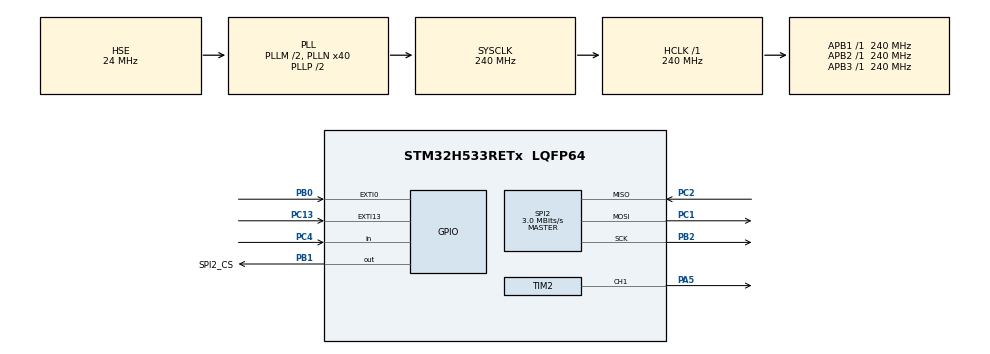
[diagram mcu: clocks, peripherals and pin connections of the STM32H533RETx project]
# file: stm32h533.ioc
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BOOTPATH.BootPathName=LEGACY
BOOTPATH.UserSelectedBootPath=LEGACY
CORTEX_M33_NS.userName=CORTEX_M33
Mcu.Family=STM32H5
Mcu.Name=STM32H533RETx
Mcu.Package=LQFP64
NUCLEO-H533RE.BUTTON=1
NUCLEO-H533RE.Bsp_Common_DEMO=true
NUCLEO-H533RE.LD4=false
NUCLEO-H533RE.VCP=true
NVIC.EXTI0_IRQn=true\:5\:0\:true\:false\:true\:true\:true\:true
NVIC.EXTI13_IRQn=true\:0\:0\:false\:false\:true\:false\:true\:true
NVIC.PriorityGroup=NVIC_PRIORITYGROUP_4
NVIC.SPI2_IRQn=true\:0\:0\:false\:false\:true\:true\:true\:true
PA13(JTMS/SWDIO).GPIO_Label=SWDIO
PA13(JTMS/SWDIO).Mode=Serial_Wire
PA13(JTMS/SWDIO).Signal=DEBUG_JTMS-SWDIO
PA14(JTCK/SWCLK).GPIO_Label=SWCLK
PA14(JTCK/SWCLK).Mode=Serial_Wire
PA14(JTCK/SWCLK).Signal=DEBUG_JTCK-SWCLK
PA15(JTDI).GPIO_Label=JTDI
PA15(JTDI).Signal=DEBUG_JTDI
PA2.Signal=USART2_TX
PA3.Signal=USART2_RX
PA5.GPIO_Speed=GPIO_SPEED_FREQ_VERY_HIGH
PA5.Signal=S_TIM2_CH1
PB0.GPIO_ModeDefaultEXTI=GPIO_MODE_IT_FALLING
PB0.GPIO_PuPd=GPIO_PULLUP
PB0.Signal=GPXTI0
PB1.GPIO_Label=SPI2_CS
PB1.Signal=GPIO_Output
PB2.Mode=Full_Duplex_Master
PB2.Signal=SPI2_SCK
PB3(JTDO/TRACESWO).GPIO_Label=SWO
PB3(JTDO/TRACESWO).Signal=DEBUG_JTDO-SWO
PC1.Mode=Full_Duplex_Master
PC1.Signal=SPI2_MOSI
PC13.Signal=GPXTI13
PC14-OSC32_IN(OSC32_IN).Mode=LSE-External-Oscillator
PC14-OSC32_IN(OSC32_IN).Signal=RCC_OSC32_IN
PC15-OSC32_OUT(OSC32_OUT).Mode=LSE-External-Oscillator
PC15-OSC32_OUT(OSC32_OUT).Signal=RCC_OSC32_OUT
PC2.Mode=Full_Duplex_Master
PC2.Signal=SPI2_MISO
PC4.Signal=GPIO_Input
PH0-OSC_IN(PH0).Mode=HSE-External-Oscillator
PH0-OSC_IN(PH0).Signal=RCC_OSC_IN
PH1-OSC_OUT(PH1).Mode=HSE-External-Oscillator
PH1-OSC_OUT(PH1).Signal=RCC_OSC_OUT
ProjectManager.HeapSize=0x200
ProjectManager.StackSize=0x400
ProjectManager.TargetToolchain=STM32CubeIDE
RCC.ADCFreq_Value=240000000
RCC.AHBFreq_Value=240000000
RCC.APB1Freq_Value=240000000
RCC.APB1TimFreq_Value=240000000
RCC.APB2Freq_Value=240000000
RCC.APB2TimFreq_Value=240000000
RCC.APB3Freq_Value=240000000
RCC.CSI_VALUE=4000000
RCC.CortexFreq_Value=240000000
RCC.EPOD_VALUE=24000000
RCC.HCLKFreq_Value=240000000
RCC.HSE_VALUE=24000000
RCC.HSI48_VALUE=48000000
RCC.HSI_VALUE=64000000
RCC.LSIRC_VALUE=32000
RCC.PLL1Q=10
RCC.PLL2M=2
RCC.PLL2Source=RCC_PLL2_SOURCE_HSE
RCC.PLL3M=2
RCC.PLL3N=16
RCC.PLL3Source=RCC_PLL3_SOURCE_HSE
RCC.PLLFRACN=0
RCC.PLLM=2
RCC.PLLN=40
RCC.PLLSourceVirtual=RCC_PLL1_SOURCE_HSE
RCC.RNGCLockSelection=RCC_RNGCLKSOURCE_PLL1Q
RCC.SYSCLKFreq_VALUE=240000000
RCC.SYSCLKSource=RCC_SYSCLKSOURCE_PLLCLK
RCC.USBCLockSelection=RCC_USBCLKSOURCE_PLL1Q
RCC.USBFreq_Value=48000000
RCC.VCOOutputFreq_Value=480000000
SH.S_TIM2_CH1.0=TIM2_CH1,PWM Generation1 CH1
SPI2.BaudRatePrescaler=SPI_BAUDRATEPRESCALER_16
SPI2.CalculateBaudRate=3.0 MBits/s
SPI2.DataSize=SPI_DATASIZE_8BIT
SPI2.Direction=SPI_DIRECTION_2LINES
SPI2.Mode=SPI_MODE_MASTER
SPI2.NSSPMode=SPI_NSS_PULSE_ENABLE
SPI2.VirtualType=VM_MASTER
TIM2.Channel-PWM\ Generation1\ CH1=TIM_CHANNEL_1
TIM2.PeriodNoDither=240000000
VP_BOOTPATH_VS_BOOTPATH.Mode=BP_Activate
VP_CORTEX_M33_NS_VS_Hclk.Mode=Hclk_Mode
VP_ICACHE_VS_ICACHE.Mode=DefaultMode
VP_MEMORYMAP_VS_MEMORYMAP.Mode=CurAppReg
VP_NUCLEO-H533RE_VS_BSP_COMMON.Mode=COMMON
VP_PWR_VS_LPOM.Mode=PowerOptimisation
VP_PWR_VS_SECSignals.Mode=Security/Privilege
VP_TIM2_VS_ClockSourceINT.Mode=Internal
board=NUCLEO-H533RE

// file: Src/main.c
/* USER CODE BEGIN Header */
/**
  ******************************************************************************
  * @file           : main.c
  * @brief          : Main program body
  ******************************************************************************
  * @attention
  *
  * Copyright (c) 2025 STMicroelectronics.
  * All rights reserved.
  *
  * This software is licensed under terms that can be found in the LICENSE file
  * in the root directory of this software component.
  * If no LICENSE file comes with this software, it is provided AS-IS.
  *
  ******************************************************************************
  */
/* USER CODE END Header */
#include "main.h"

/* USER CODE BEGIN Includes */
#include "app.h"
#include "stm32h5xx_ll_icache.h"

/* USER CODE END Includes */

COM_InitTypeDef BspCOMInit;
__IO uint32_t BspButtonState = BUTTON_RELEASED;

SPI_HandleTypeDef hspi2;

TIM_HandleTypeDef htim2;

void SystemClock_Config(void);
static void MX_GPIO_Init(void);
static void MX_ICACHE_Init(void);
static void MX_TIM2_Init(void);
static void MX_SPI2_Init(void);

/* USER CODE BEGIN 0 */

int Debug_UART_Get_Byte() {
	if (__HAL_UART_GET_FLAG(hcom_uart, UART_FLAG_RXNE) == SET) {
		return (uint8_t) (hcom_uart->Instance->RDR & (uint8_t) 0x00FF);
	}
	// If overrun error occurred, clear the Overrun Error (ORE) flag
	// by setting the ORECF bit in the USART_ICR register, so that we can continue receiving data.
	// Until the ORE flag is cleared, no new data is written to the USART_RDR register.
	if (__HAL_UART_GET_FLAG(hcom_uart, UART_FLAG_ORE) == SET) {
		__HAL_UART_CLEAR_OREFLAG(hcom_uart);
	}
	return -1;
}

void Status_LED_Set_Mode(Status_LED_Mode mode) {
	switch (mode) {
		case STATUS_LED_MODE_OFF:
			MODIFY_REG(
				htim2.Instance->CCMR1,
				TIM_CCMR1_OC1M_3 | TIM_CCMR1_OC1M_2 | TIM_CCMR1_OC1M_1 | TIM_CCMR1_OC1M_0,
				TIM_CCMR1_OC1M_2
				);
			break;
		case STATUS_LED_MODE_ON:
			MODIFY_REG(
				htim2.Instance->CCMR1,
				TIM_CCMR1_OC1M_3 | TIM_CCMR1_OC1M_2 | TIM_CCMR1_OC1M_1 | TIM_CCMR1_OC1M_0,
				TIM_CCMR1_OC1M_2 | TIM_CCMR1_OC1M_0
			);
			break;
		case STATUS_LED_MODE_BLINKING_NORMAL:
			MODIFY_REG(
				htim2.Instance->CCMR1,
				TIM_CCMR1_OC1M_3 | TIM_CCMR1_OC1M_2 | TIM_CCMR1_OC1M_1 | TIM_CCMR1_OC1M_0,
				TIM_CCMR1_OC1M_2 | TIM_CCMR1_OC1M_1
			);
			htim2.Instance->CCR1 = __HAL_TIM_CALC_PULSE(240000000, 0, 500 * 1000);
			htim2.Instance->ARR = __HAL_TIM_CALC_PERIOD(240000000, 0, 1);
			break;
		case STATUS_LED_MODE_BLINKING_SPECIAL:
			MODIFY_REG(
				htim2.Instance->CCMR1,
				TIM_CCMR1_OC1M_3 | TIM_CCMR1_OC1M_2 | TIM_CCMR1_OC1M_1 | TIM_CCMR1_OC1M_0,
				TIM_CCMR1_OC1M_2 | TIM_CCMR1_OC1M_1
			);
			htim2.Instance->CCR1 = __HAL_TIM_CALC_PULSE(240000000, 0, 25 * 1000);
			htim2.Instance->ARR = __HAL_TIM_CALC_PERIOD(240000000, 0, 2);
			break;
	}
}

/* USER CODE END 0 */

int main(void)
{

  /* MCU Configuration--------------------------------------------------------*/

  /* Reset of all peripherals, Initializes the Flash interface and the Systick. */
  HAL_Init();

  /* Configure the system clock */
  SystemClock_Config();

  /* Initialize all configured peripherals */
  MX_GPIO_Init();
  MX_ICACHE_Init();
  MX_TIM2_Init();
  MX_SPI2_Init();

  /* Initialize USER push-button, will be used to trigger an interrupt each time it's pressed.*/
  BSP_PB_Init(BUTTON_USER, BUTTON_MODE_EXTI);

  /* Initialize COM1 port (115200, 8 bits (7-bit data + 1 stop bit), no parity */
  BspCOMInit.BaudRate   = 115200;
  BspCOMInit.WordLength = COM_WORDLENGTH_8B;
  BspCOMInit.StopBits   = COM_STOPBITS_1;
  BspCOMInit.Parity     = COM_PARITY_NONE;
  BspCOMInit.HwFlowCtl  = COM_HWCONTROL_NONE;
  if (BSP_COM_Init(COM1, &BspCOMInit) != BSP_ERROR_NONE)
  {
    Error_Handler();
  }

  /* Infinite loop */
  /* USER CODE BEGIN WHILE */
	app_run();
    /* USER CODE END WHILE */

}

void SystemClock_Config(void)
{
  RCC_OscInitTypeDef RCC_OscInitStruct = {0};
  RCC_ClkInitTypeDef RCC_ClkInitStruct = {0};

  /** Configure the main internal regulator output voltage
  */
  __HAL_PWR_VOLTAGESCALING_CONFIG(PWR_REGULATOR_VOLTAGE_SCALE0);

  while(!__HAL_PWR_GET_FLAG(PWR_FLAG_VOSRDY)) {}

  /** Initializes the RCC Oscillators according to the specified parameters
  * in the RCC_OscInitTypeDef structure.
  */
  RCC_OscInitStruct.OscillatorType = RCC_OSCILLATORTYPE_HSE;
  RCC_OscInitStruct.HSEState = RCC_HSE_ON;
  RCC_OscInitStruct.PLL.PLLState = RCC_PLL_ON;
  RCC_OscInitStruct.PLL.PLLSource = RCC_PLL1_SOURCE_HSE;
  RCC_OscInitStruct.PLL.PLLM = 2;
  RCC_OscInitStruct.PLL.PLLN = 40;
  RCC_OscInitStruct.PLL.PLLP = 2;
  RCC_OscInitStruct.PLL.PLLQ = 10;
  RCC_OscInitStruct.PLL.PLLR = 2;
  RCC_OscInitStruct.PLL.PLLRGE = RCC_PLL1_VCIRANGE_3;
  RCC_OscInitStruct.PLL.PLLVCOSEL = RCC_PLL1_VCORANGE_WIDE;
  RCC_OscInitStruct.PLL.PLLFRACN = 0;
  if (HAL_RCC_OscConfig(&RCC_OscInitStruct) != HAL_OK)
  {
    Error_Handler();
  }

  /** Initializes the CPU, AHB and APB buses clocks
  */
  RCC_ClkInitStruct.ClockType = RCC_CLOCKTYPE_HCLK|RCC_CLOCKTYPE_SYSCLK
                              |RCC_CLOCKTYPE_PCLK1|RCC_CLOCKTYPE_PCLK2
                              |RCC_CLOCKTYPE_PCLK3;
  RCC_ClkInitStruct.SYSCLKSource = RCC_SYSCLKSOURCE_PLLCLK;
  RCC_ClkInitStruct.AHBCLKDivider = RCC_SYSCLK_DIV1;
  RCC_ClkInitStruct.APB1CLKDivider = RCC_HCLK_DIV1;
  RCC_ClkInitStruct.APB2CLKDivider = RCC_HCLK_DIV1;
  RCC_ClkInitStruct.APB3CLKDivider = RCC_HCLK_DIV1;

  if (HAL_RCC_ClockConfig(&RCC_ClkInitStruct, FLASH_LATENCY_5) != HAL_OK)
  {
    Error_Handler();
  }

  /** Configure the programming delay
  */
  __HAL_FLASH_SET_PROGRAM_DELAY(FLASH_PROGRAMMING_DELAY_2);
}

static void MX_ICACHE_Init(void)
{

	// Before enabling ICACHE we have to solve the following:
	//  1. Reading the 96-bit device UID from the flash memory (0x08FFF800) (the read-only area)
	//     causes a HardFault when ICACHE is enabled.
	//     See How to avoid a HardFault when ICACHE is enabled on the STM32H5 series (configure MPU)
	//       https://community.st.com/t5/stm32-mcus/how-to-avoid-a-hardfault-when-icache-is-enabled-on-the-stm32h5/ta-p/630085
	//       (or a related discussion here https://community.st.com/t5/stm32-mcus-products/stm32h563-hard-fault-when-trying-to-read-uid/td-p/584571)
	//     RM0481 7.3.2 FLASH signals, Main AHB interface
	//       By default, all the AHB memory range is cacheable.
	//       For regions where caching is not practical (OTP, RO, data area),
	//       MPU must be used to disable local cacheability.
	//  2. Configure MPU to avoid caching the persistent authenticator data stored on the flash memory
	//     (discoverable credentials, global signature counter, pin, master key, etc.).

	// Enable instruction cache (default 2-ways set associative cache)
	// LL_ICACHE_Enable();

}

static void MX_SPI2_Init(void)
{

  /* SPI2 parameter configuration*/
	hspi2.Instance = SPI2;
	hspi2.Init.Mode = SPI_MODE_MASTER;
	hspi2.Init.Direction = SPI_DIRECTION_2LINES;
	hspi2.Init.DataSize = SPI_DATASIZE_8BIT;
	hspi2.Init.CLKPolarity = SPI_POLARITY_LOW;
	hspi2.Init.CLKPhase = SPI_PHASE_2EDGE;
	hspi2.Init.NSS = SPI_NSS_SOFT;
	hspi2.Init.BaudRatePrescaler = SPI_BAUDRATEPRESCALER_64; // 0.75 Mbps (240MHz / 64)
	hspi2.Init.FirstBit = SPI_FIRSTBIT_MSB;
	hspi2.Init.TIMode = SPI_TIMODE_DISABLE;
	hspi2.Init.CRCCalculation = SPI_CRCCALCULATION_DISABLE;
	hspi2.Init.CRCPolynomial = 0x7;
	hspi2.Init.NSSPMode = SPI_NSS_PULSE_DISABLE;
	hspi2.Init.NSSPolarity = SPI_NSS_POLARITY_LOW;
	hspi2.Init.FifoThreshold = SPI_FIFO_THRESHOLD_01DATA;
	hspi2.Init.MasterSSIdleness = SPI_MASTER_SS_IDLENESS_00CYCLE;
	hspi2.Init.MasterInterDataIdleness = SPI_MASTER_INTERDATA_IDLENESS_00CYCLE;
	hspi2.Init.MasterReceiverAutoSusp = SPI_MASTER_RX_AUTOSUSP_DISABLE;
	hspi2.Init.MasterKeepIOState = SPI_MASTER_KEEP_IO_STATE_DISABLE;
	hspi2.Init.IOSwap = SPI_IO_SWAP_DISABLE;
	hspi2.Init.ReadyMasterManagement = SPI_RDY_MASTER_MANAGEMENT_INTERNALLY;
	hspi2.Init.ReadyPolarity = SPI_RDY_POLARITY_HIGH;
	if (HAL_SPI_Init(&hspi2) != HAL_OK)
	{
		Error_Handler();
	}
  /* USER CODE BEGIN SPI2_Init 2 */
  HAL_GPIO_WritePin(GPIOB, GPIO_PIN_1, GPIO_PIN_SET); //set CS to high
  /* USER CODE END SPI2_Init 2 */

}

static void MX_TIM2_Init(void)
{

  TIM_ClockConfigTypeDef sClockSourceConfig = {0};
  TIM_MasterConfigTypeDef sMasterConfig = {0};
  TIM_OC_InitTypeDef sConfigOC = {0};

  htim2.Instance = TIM2;
  htim2.Init.Prescaler = 0;
  htim2.Init.CounterMode = TIM_COUNTERMODE_UP;
  htim2.Init.Period = __HAL_TIM_CALC_PERIOD(240000000, 0, 1);
  htim2.Init.ClockDivision = TIM_CLOCKDIVISION_DIV1;
  htim2.Init.AutoReloadPreload = TIM_AUTORELOAD_PRELOAD_DISABLE;
  if (HAL_TIM_Base_Init(&htim2) != HAL_OK)
  {
    Error_Handler();
  }
  sClockSourceConfig.ClockSource = TIM_CLOCKSOURCE_INTERNAL;
  if (HAL_TIM_ConfigClockSource(&htim2, &sClockSourceConfig) != HAL_OK)
  {
    Error_Handler();
  }
  if (HAL_TIM_PWM_Init(&htim2) != HAL_OK)
  {
    Error_Handler();
  }
  sMasterConfig.MasterOutputTrigger = TIM_TRGO_RESET;
  sMasterConfig.MasterSlaveMode = TIM_MASTERSLAVEMODE_DISABLE;
  if (HAL_TIMEx_MasterConfigSynchronization(&htim2, &sMasterConfig) != HAL_OK)
  {
    Error_Handler();
  }
  sConfigOC.OCMode = TIM_OCMODE_PWM1;
  sConfigOC.Pulse = 0;
  sConfigOC.OCPolarity = TIM_OCPOLARITY_HIGH;
  sConfigOC.OCFastMode = TIM_OCFAST_DISABLE;
  if (HAL_TIM_PWM_ConfigChannel(&htim2, &sConfigOC, TIM_CHANNEL_1) != HAL_OK)
  {
    Error_Handler();
  }
  HAL_TIM_MspPostInit(&htim2);

}

static void MX_GPIO_Init(void)
{
  GPIO_InitTypeDef GPIO_InitStruct = {0};

  /* GPIO Ports Clock Enable */
  __HAL_RCC_GPIOC_CLK_ENABLE();
  __HAL_RCC_GPIOH_CLK_ENABLE();
  __HAL_RCC_GPIOA_CLK_ENABLE();
  __HAL_RCC_GPIOB_CLK_ENABLE();

  /*Configure GPIO pin Output Level */
  HAL_GPIO_WritePin(SPI2_CS_GPIO_Port, SPI2_CS_Pin, GPIO_PIN_SET);

  /*Configure GPIO pin : PC4 */
  GPIO_InitStruct.Pin = GPIO_PIN_4;
  GPIO_InitStruct.Mode = GPIO_MODE_INPUT;
  GPIO_InitStruct.Pull = GPIO_NOPULL;
  HAL_GPIO_Init(GPIOC, &GPIO_InitStruct);

  /*Configure GPIO pin : PB0 */
  GPIO_InitStruct.Pin = GPIO_PIN_0;
  GPIO_InitStruct.Mode = GPIO_MODE_IT_RISING;
  GPIO_InitStruct.Pull = GPIO_NOPULL;
  HAL_GPIO_Init(GPIOB, &GPIO_InitStruct);

  /*Configure GPIO pin : SPI2_CS_Pin */
  GPIO_InitStruct.Pin = SPI2_CS_Pin;
  GPIO_InitStruct.Mode = GPIO_MODE_OUTPUT_PP;
  GPIO_InitStruct.Pull = GPIO_NOPULL;
  GPIO_InitStruct.Speed = GPIO_SPEED_FREQ_LOW;
  HAL_GPIO_Init(SPI2_CS_GPIO_Port, &GPIO_InitStruct);

  /* EXTI interrupt init*/
  HAL_NVIC_SetPriority(EXTI0_IRQn, 5, 0);
  HAL_NVIC_EnableIRQ(EXTI0_IRQn);

}

/**
  * @brief  BSP Push Button callback
  * @param  Button Specifies the pressed button
  * @retval None
  */
void BSP_PB_Callback(Button_TypeDef Button)
{
  if (Button == BUTTON_USER)
  {
    BspButtonState = BUTTON_PRESSED;
  }
}

void Error_Handler(void)
{
  /* USER CODE BEGIN Error_Handler_Debug */
	/* User can add his own implementation to report the HAL error return state */
	__disable_irq();
	Status_LED_Set_Mode(STATUS_LED_MODE_BLINKING_SPECIAL);
	while (1) {
	}
  /* USER CODE END Error_Handler_Debug */
}
